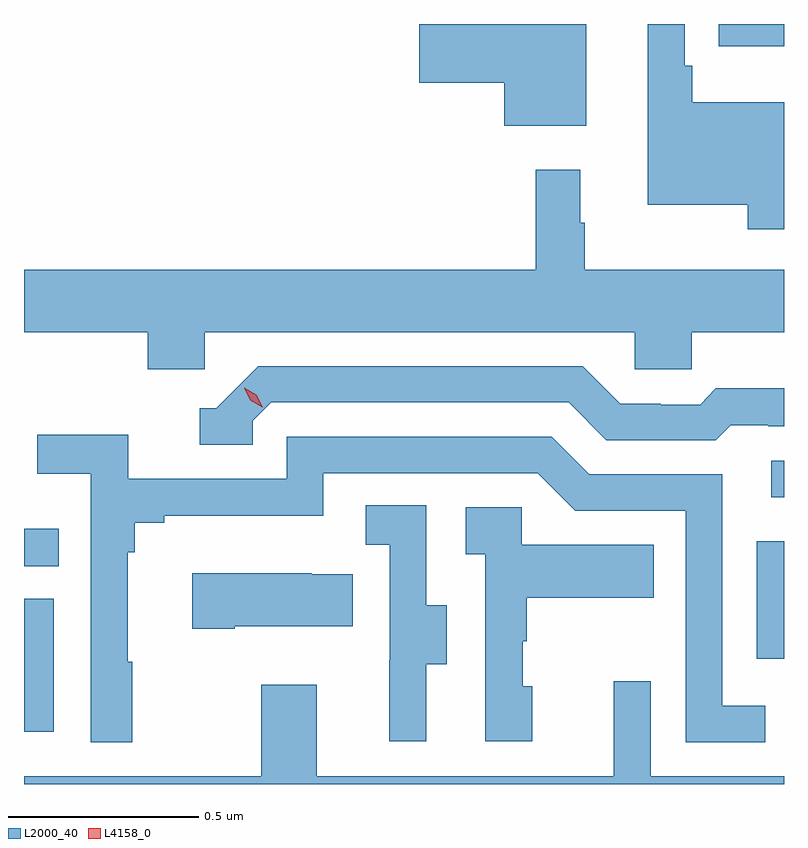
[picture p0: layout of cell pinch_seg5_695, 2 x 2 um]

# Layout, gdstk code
import gdstk
lib = gdstk.Library(unit=1e-6, precision=1e-09)
def R(c, l, rs):  # rectangles x0, y0, x1, y1
    for r in rs: c.add(gdstk.rectangle(r[:2], r[2:], *l))
def P(c, l, *ps):  # polygons
    for p in ps: c.add(gdstk.Polygon(p, *l))
L2000_40 = (2000, 40)
L4158_0 = (4158, 0)

pinch_seg5_695 = lib.new_cell('pinch_seg5_695')
R(pinch_seg5_695, L2000_40, [(1115.362,835.728,1115.44,836.079), (1117.29,835.92,1117.362,836.23), (1115.362,836.164,1115.453,836.263), (1117.329,836.346,1117.362,836.442), (1117.19,837.533,1117.362,837.591)])
P(pinch_seg5_695, L2000_40, [(1117.362,837.385),(1117.121,837.385),(1117.121,837.481),(1117.101,837.481),(1117.101,837.591),(1117.004,837.591),(1117.004,837.116),(1117.266,837.116),(1117.266,837.051),(1117.362,837.051)],
  [(1116.841,837.591),(1116.402,837.591),(1116.402,837.437),(1116.626,837.437),(1116.626,837.323),(1116.841,837.323)],
  [(1115.838,836.78),(1116.969,836.78),(1116.969,836.682),(1117.119,836.682),(1117.119,836.78),(1117.362,836.78),(1117.362,836.944),(1116.838,836.944),(1116.838,837.068),(1116.826,837.068),(1116.826,837.208),(1116.709,837.208),(1116.709,836.944),(1115.362,836.944),(1115.362,836.78),(1115.687,836.78),(1115.687,836.682),(1115.838,836.682)],
  [(1115.964,836.547),(1116.012,836.595),(1116.795,836.595),(1116.894,836.496),(1117.183,836.496),(1117.222,836.535),(1117.321,836.535),(1117.321,836.532),(1117.362,836.532),(1117.362,836.632),(1117.183,836.632),(1117.141,836.589),(1117.038,836.589),(1117.038,836.592),(1116.931,836.592),(1116.832,836.691),(1115.979,836.691),(1115.868,836.58),(1115.825,836.58),(1115.825,836.484),(1115.964,836.484)],
  [(1115.647,835.913),(1115.635,835.913),(1115.635,836.201),(1115.654,836.201),(1115.654,836.278),(1115.731,836.278),(1115.731,836.297),(1116.15,836.297),(1116.15,836.409),(1116.714,836.409),(1116.813,836.31),(1117.104,836.31),(1117.104,835.701),(1117.313,835.701),(1117.313,835.797),(1117.2,835.797),(1117.2,836.406),(1116.85,836.406),(1116.751,836.505),(1116.054,836.505),(1116.054,836.394),(1115.636,836.394),(1115.636,836.51),(1115.397,836.51),(1115.397,836.408),(1115.538,836.408),(1115.538,835.701),(1115.647,835.701)],
  [(1116.421,835.906),(1116.475,835.906),(1116.475,836.061),(1116.42,836.061),(1116.42,836.324),(1116.261,836.324),(1116.261,836.221),(1116.324,836.221),(1116.324,835.917),(1116.323,835.917),(1116.323,835.704),(1116.421,835.704)],
  [(1116.7,835.848),(1116.675,835.848),(1116.675,835.967),(1116.685,835.967),(1116.685,836.081),(1117.019,836.081),(1117.019,836.221),(1116.672,836.221),(1116.672,836.319),(1116.525,836.319),(1116.525,836.195),(1116.576,836.195),(1116.576,835.704),(1116.7,835.704)],
  [(1115.917,836.006),(1116.227,836.006),(1116.227,836.143),(1116.119,836.143),(1116.119,836.146),(1115.805,836.146),(1115.805,835.999),(1115.917,835.999)],
  [(1117.362,835.612),(1117.011,835.612),(1117.011,835.861),(1116.914,835.861),(1116.914,835.612),(1116.133,835.612),(1116.133,835.852),(1115.986,835.852),(1115.986,835.612),(1115.362,835.612),(1115.362,835.591),(1117.362,835.591)])
P(pinch_seg5_695, L4158_0, [(1115.989,836.582),(1115.958,836.601),(1115.942,836.634),(1115.942,836.634),(1115.942,836.634),(1115.973,836.615),(1115.99,836.582),(1115.99,836.582)])

lib.write_gds('pinch_seg5_695.gds')
